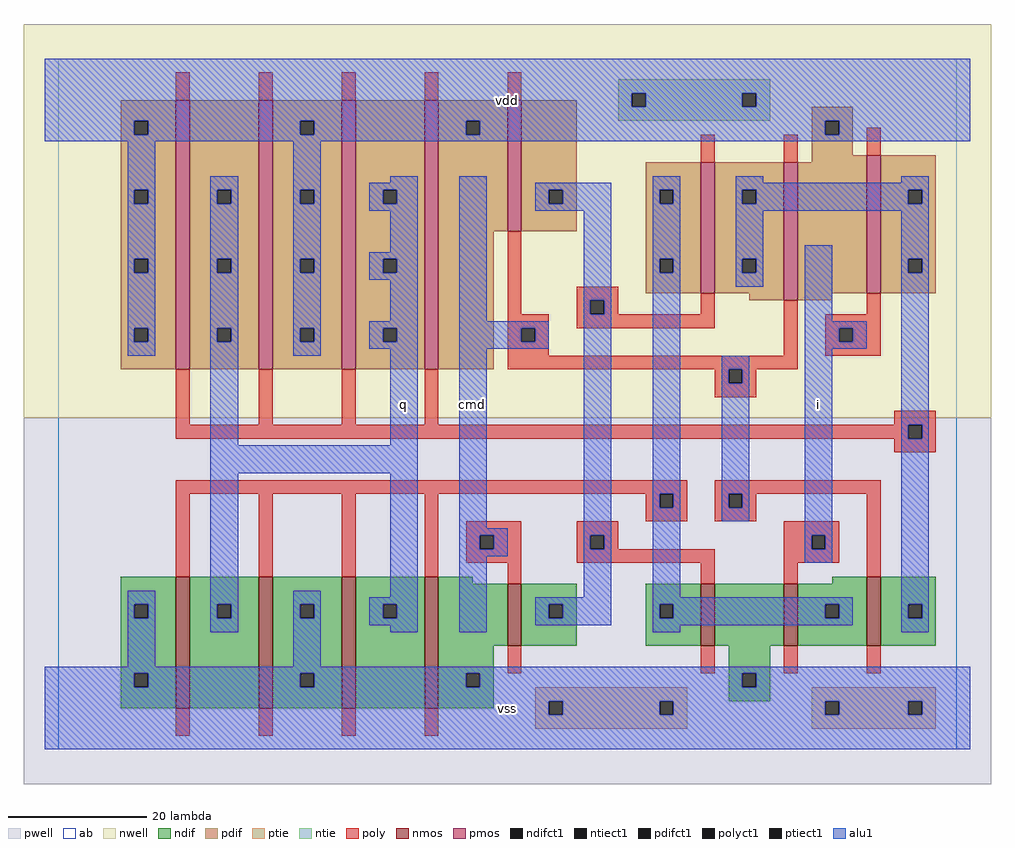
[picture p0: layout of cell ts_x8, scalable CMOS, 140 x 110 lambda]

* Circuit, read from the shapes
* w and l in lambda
.subckt ts_x8 cmd i q vdd vss
M1 q n1 vss vss nfet w=19 l=2 m=4
M2 n2 cmd vss vss nfet w=9 l=2
M3 vss n2 n1 vss nfet w=9 l=2
M4 n1 i vss vss nfet w=9 l=2
M5 n3 cmd n1 vss nfet w=10 l=2
M6 q n3 vdd vdd pfet w=39 l=2 m=4
M7 n2 cmd vdd vdd pfet w=19 l=2
M8 n3 n2 n1 vdd pfet w=19 l=2
M9 vdd cmd n3 vdd pfet w=20 l=2
M10 n3 i vdd vdd pfet w=20 l=2
.ends

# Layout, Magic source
magic
tech scmos
<< ab >>
rect 0 0 130 100
<< nwell >>
rect -5 48 135 105
<< pwell >>
rect -5 -5 135 48
<< poly >>
rect 17 94 19 98
rect 29 94 31 98
rect 41 94 43 98
rect 53 94 55 98
rect 65 94 67 98
rect 93 85 95 89
rect 105 85 107 89
rect 117 86 119 90
rect 65 63 67 75
rect 75 65 81 67
rect 75 63 77 65
rect 79 63 81 65
rect 93 63 95 66
rect 65 61 71 63
rect 75 61 95 63
rect 65 59 67 61
rect 69 59 71 61
rect 65 57 71 59
rect 105 57 107 65
rect 117 63 119 66
rect 111 61 119 63
rect 111 59 113 61
rect 115 59 119 61
rect 111 57 119 59
rect 65 55 107 57
rect 17 47 19 55
rect 29 47 31 55
rect 41 47 43 55
rect 53 47 55 55
rect 95 53 97 55
rect 99 53 101 55
rect 95 51 101 53
rect 121 47 127 49
rect 17 45 123 47
rect 125 45 127 47
rect 121 43 127 45
rect 17 37 91 39
rect 17 25 19 37
rect 29 25 31 37
rect 41 25 43 37
rect 53 25 55 37
rect 85 35 87 37
rect 89 35 91 37
rect 85 33 91 35
rect 95 37 119 39
rect 95 35 97 37
rect 99 35 101 37
rect 95 33 101 35
rect 59 31 67 33
rect 59 29 61 31
rect 63 29 67 31
rect 59 27 67 29
rect 75 31 81 33
rect 75 29 77 31
rect 79 29 81 31
rect 105 31 113 33
rect 105 29 109 31
rect 111 29 113 31
rect 75 27 95 29
rect 65 24 67 27
rect 93 24 95 27
rect 105 27 113 29
rect 105 24 107 27
rect 117 25 119 37
rect 65 11 67 15
rect 93 11 95 15
rect 105 11 107 15
rect 117 11 119 15
rect 17 2 19 6
rect 29 2 31 6
rect 41 2 43 6
rect 53 2 55 6
<< ndif >>
rect 9 21 17 25
rect 9 19 11 21
rect 13 19 17 21
rect 9 11 17 19
rect 9 9 11 11
rect 13 9 17 11
rect 9 6 17 9
rect 19 21 29 25
rect 19 19 23 21
rect 25 19 29 21
rect 19 6 29 19
rect 31 21 41 25
rect 31 19 35 21
rect 37 19 41 21
rect 31 11 41 19
rect 31 9 35 11
rect 37 9 41 11
rect 31 6 41 9
rect 43 21 53 25
rect 43 19 47 21
rect 49 19 53 21
rect 43 6 53 19
rect 55 24 60 25
rect 112 24 117 25
rect 55 15 65 24
rect 67 21 75 24
rect 67 19 71 21
rect 73 19 75 21
rect 67 15 75 19
rect 85 21 93 24
rect 85 19 87 21
rect 89 19 93 21
rect 85 15 93 19
rect 95 15 105 24
rect 107 21 117 24
rect 107 19 111 21
rect 113 19 117 21
rect 107 15 117 19
rect 119 21 127 25
rect 119 19 123 21
rect 125 19 127 21
rect 119 15 127 19
rect 55 11 63 15
rect 97 11 103 15
rect 55 9 59 11
rect 61 9 63 11
rect 97 9 99 11
rect 101 9 103 11
rect 55 6 63 9
rect 97 7 103 9
<< pdif >>
rect 9 91 17 94
rect 9 89 11 91
rect 13 89 17 91
rect 9 81 17 89
rect 9 79 11 81
rect 13 79 17 81
rect 9 71 17 79
rect 9 69 11 71
rect 13 69 17 71
rect 9 61 17 69
rect 9 59 11 61
rect 13 59 17 61
rect 9 55 17 59
rect 19 81 29 94
rect 19 79 23 81
rect 25 79 29 81
rect 19 71 29 79
rect 19 69 23 71
rect 25 69 29 71
rect 19 61 29 69
rect 19 59 23 61
rect 25 59 29 61
rect 19 55 29 59
rect 31 91 41 94
rect 31 89 35 91
rect 37 89 41 91
rect 31 81 41 89
rect 31 79 35 81
rect 37 79 41 81
rect 31 71 41 79
rect 31 69 35 71
rect 37 69 41 71
rect 31 61 41 69
rect 31 59 35 61
rect 37 59 41 61
rect 31 55 41 59
rect 43 81 53 94
rect 43 79 47 81
rect 49 79 53 81
rect 43 71 53 79
rect 43 69 47 71
rect 49 69 53 71
rect 43 61 53 69
rect 43 59 47 61
rect 49 59 53 61
rect 43 55 53 59
rect 55 91 65 94
rect 55 89 59 91
rect 61 89 65 91
rect 55 75 65 89
rect 67 81 75 94
rect 109 91 115 93
rect 109 89 111 91
rect 113 89 115 91
rect 109 86 115 89
rect 109 85 117 86
rect 67 79 71 81
rect 73 79 75 81
rect 67 75 75 79
rect 85 81 93 85
rect 85 79 87 81
rect 89 79 93 81
rect 55 55 63 75
rect 85 71 93 79
rect 85 69 87 71
rect 89 69 93 71
rect 85 66 93 69
rect 95 81 105 85
rect 95 79 99 81
rect 101 79 105 81
rect 95 71 105 79
rect 95 69 99 71
rect 101 69 105 71
rect 95 66 105 69
rect 100 65 105 66
rect 107 66 117 85
rect 119 81 127 86
rect 119 79 123 81
rect 125 79 127 81
rect 119 71 127 79
rect 119 69 123 71
rect 125 69 127 71
rect 119 66 127 69
rect 107 65 112 66
<< alu1 >>
rect -2 95 132 100
rect -2 93 83 95
rect 85 93 99 95
rect 101 93 132 95
rect -2 91 132 93
rect -2 89 11 91
rect 13 89 35 91
rect 37 89 59 91
rect 61 89 111 91
rect 113 89 132 91
rect -2 88 132 89
rect 10 81 14 88
rect 10 79 11 81
rect 13 79 14 81
rect 10 71 14 79
rect 10 69 11 71
rect 13 69 14 71
rect 10 61 14 69
rect 10 59 11 61
rect 13 59 14 61
rect 10 57 14 59
rect 22 81 26 83
rect 22 79 23 81
rect 25 79 26 81
rect 22 71 26 79
rect 22 69 23 71
rect 25 69 26 71
rect 22 61 26 69
rect 22 59 23 61
rect 25 59 26 61
rect 22 44 26 59
rect 34 81 38 88
rect 48 82 52 83
rect 34 79 35 81
rect 37 79 38 81
rect 34 71 38 79
rect 45 81 52 82
rect 45 79 47 81
rect 49 79 52 81
rect 45 78 52 79
rect 48 72 52 78
rect 34 69 35 71
rect 37 69 38 71
rect 34 61 38 69
rect 45 71 52 72
rect 45 69 47 71
rect 49 69 52 71
rect 45 68 52 69
rect 48 62 52 68
rect 34 59 35 61
rect 37 59 38 61
rect 34 57 38 59
rect 45 61 52 62
rect 45 59 47 61
rect 49 59 52 61
rect 45 58 52 59
rect 48 44 52 58
rect 22 40 52 44
rect 10 21 14 23
rect 10 19 11 21
rect 13 19 14 21
rect 10 12 14 19
rect 22 21 26 40
rect 22 19 23 21
rect 25 19 26 21
rect 22 17 26 19
rect 34 21 38 23
rect 48 22 52 40
rect 34 19 35 21
rect 37 19 38 21
rect 34 12 38 19
rect 45 21 52 22
rect 45 19 47 21
rect 49 19 52 21
rect 45 18 52 19
rect 48 17 52 18
rect 58 62 62 83
rect 69 81 80 82
rect 69 79 71 81
rect 73 79 80 81
rect 69 78 80 79
rect 76 65 80 78
rect 76 63 77 65
rect 79 63 80 65
rect 58 61 71 62
rect 58 59 67 61
rect 69 59 71 61
rect 58 58 71 59
rect 58 32 62 58
rect 58 31 65 32
rect 58 29 61 31
rect 63 29 65 31
rect 58 28 65 29
rect 76 31 80 63
rect 76 29 77 31
rect 79 29 80 31
rect 58 17 62 28
rect 76 22 80 29
rect 69 21 80 22
rect 69 19 71 21
rect 73 19 80 21
rect 69 18 80 19
rect 86 81 90 83
rect 86 79 87 81
rect 89 79 90 81
rect 86 71 90 79
rect 86 69 87 71
rect 89 69 90 71
rect 86 37 90 69
rect 98 82 102 83
rect 122 82 126 83
rect 98 81 126 82
rect 98 79 99 81
rect 101 79 123 81
rect 125 79 126 81
rect 98 78 126 79
rect 98 71 102 78
rect 98 69 99 71
rect 101 69 102 71
rect 98 67 102 69
rect 108 62 112 73
rect 122 71 126 78
rect 122 69 123 71
rect 125 69 126 71
rect 108 61 117 62
rect 108 59 113 61
rect 115 59 117 61
rect 108 58 117 59
rect 86 35 87 37
rect 89 35 90 37
rect 86 22 90 35
rect 96 55 100 57
rect 96 53 97 55
rect 99 53 100 55
rect 96 37 100 53
rect 96 35 97 37
rect 99 35 100 37
rect 96 33 100 35
rect 108 31 112 58
rect 108 29 109 31
rect 111 29 112 31
rect 108 27 112 29
rect 122 47 126 69
rect 122 45 123 47
rect 125 45 126 47
rect 86 21 115 22
rect 86 19 87 21
rect 89 19 111 21
rect 113 19 115 21
rect 86 18 115 19
rect 122 21 126 45
rect 122 19 123 21
rect 125 19 126 21
rect 86 17 90 18
rect 122 17 126 19
rect -2 11 132 12
rect -2 9 11 11
rect 13 9 35 11
rect 37 9 59 11
rect 61 9 99 11
rect 101 9 132 11
rect -2 7 132 9
rect -2 5 71 7
rect 73 5 87 7
rect 89 5 111 7
rect 113 5 123 7
rect 125 5 132 7
rect -2 0 132 5
<< ptie >>
rect 69 7 91 9
rect 109 7 127 9
rect 69 5 71 7
rect 73 5 87 7
rect 89 5 91 7
rect 69 3 91 5
rect 109 5 111 7
rect 113 5 123 7
rect 125 5 127 7
rect 109 3 127 5
<< ntie >>
rect 81 95 103 97
rect 81 93 83 95
rect 85 93 99 95
rect 101 93 103 95
rect 81 91 103 93
<< nmos >>
rect 17 6 19 25
rect 29 6 31 25
rect 41 6 43 25
rect 53 6 55 25
rect 65 15 67 24
rect 93 15 95 24
rect 105 15 107 24
rect 117 15 119 25
<< pmos >>
rect 17 55 19 94
rect 29 55 31 94
rect 41 55 43 94
rect 53 55 55 94
rect 65 75 67 94
rect 93 66 95 85
rect 105 65 107 85
rect 117 66 119 86
<< polyct1 >>
rect 77 63 79 65
rect 67 59 69 61
rect 113 59 115 61
rect 97 53 99 55
rect 123 45 125 47
rect 87 35 89 37
rect 97 35 99 37
rect 61 29 63 31
rect 77 29 79 31
rect 109 29 111 31
<< ndifct1 >>
rect 11 19 13 21
rect 11 9 13 11
rect 23 19 25 21
rect 35 19 37 21
rect 35 9 37 11
rect 47 19 49 21
rect 71 19 73 21
rect 87 19 89 21
rect 111 19 113 21
rect 123 19 125 21
rect 59 9 61 11
rect 99 9 101 11
<< ntiect1 >>
rect 83 93 85 95
rect 99 93 101 95
<< ptiect1 >>
rect 71 5 73 7
rect 87 5 89 7
rect 111 5 113 7
rect 123 5 125 7
<< pdifct1 >>
rect 11 89 13 91
rect 11 79 13 81
rect 11 69 13 71
rect 11 59 13 61
rect 23 79 25 81
rect 23 69 25 71
rect 23 59 25 61
rect 35 89 37 91
rect 35 79 37 81
rect 35 69 37 71
rect 35 59 37 61
rect 47 79 49 81
rect 47 69 49 71
rect 47 59 49 61
rect 59 89 61 91
rect 111 89 113 91
rect 71 79 73 81
rect 87 79 89 81
rect 87 69 89 71
rect 99 79 101 81
rect 99 69 101 71
rect 123 79 125 81
rect 123 69 125 71
<< labels >>
rlabel alu1 50 50 50 50 6 q
rlabel alu1 60 50 60 50 6 cmd
rlabel alu1 65 6 65 6 6 vss
rlabel alu1 65 94 65 94 6 vdd
rlabel alu1 110 50 110 50 6 i
<< end >>
